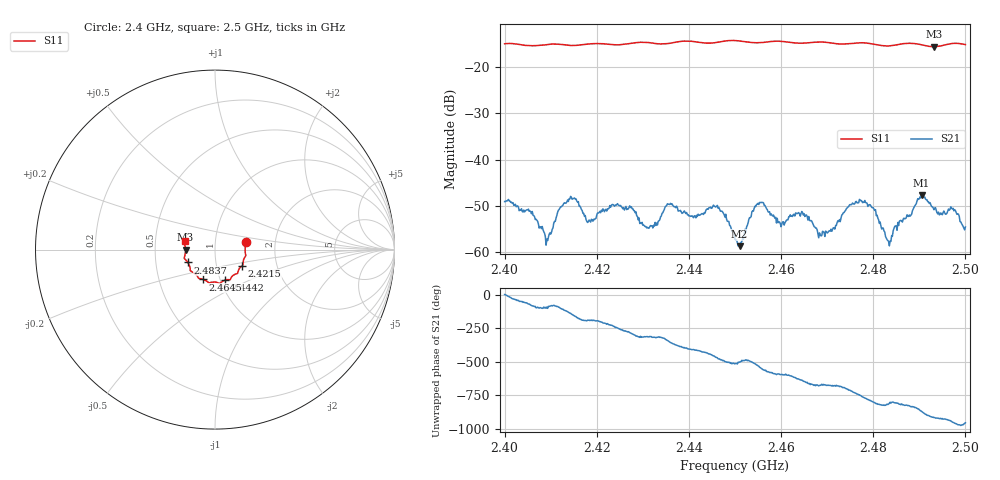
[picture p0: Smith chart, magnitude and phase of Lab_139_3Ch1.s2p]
# Hz S RI R 50
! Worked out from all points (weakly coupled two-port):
!   601 points, 2.4 GHz to 2.5 GHz, reference 50 ohm
!   highest |S21| = -47.65 dB at 2.4905 GHz (marker M1); lowest = -58.6 dB at 2.451 GHz (marker M2)
!   lowest |S11| = -15.7 dB at 2.4932 GHz (marker M3), VSWR 1.39, Z = 35.9 - j0.0579 ohm
!   |S11| at or under -10 dB: start of sweep to end of sweep
!   S12 and S22 are empty: the file has one direction only
!   S11 on the Smith chart (normalised r, x): 2.4 GHz: 1.41, +0.12; 2.4215 GHz: 1.33, -0.25; 2.4442 GHz: 1.05, -0.37; 2.4645 GHz: 0.83, -0.29; 2.4837 GHz: 0.73, -0.11; 2.5 GHz: 0.71, +0.07
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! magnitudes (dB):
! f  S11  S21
! 2.4 GHz  -15.1  -49.0
! 2.4055 GHz  -15.5  -51.1
! 2.4092 GHz  -15.3  -57.1
! 2.414 GHz  -15.4  -48.4
! 2.4167 GHz  -15.3  -50.7
! 2.4215 GHz  -15.1  -50.9
! 2.4333 GHz  -15.1  -53.3
! 2.4358 GHz  -15.0  -49.7
! 2.4442 GHz  -15.0  -50.7
! 2.45 GHz  -14.4  -57.1
! 2.451 GHz  -14.5  -58.6
! 2.4552 GHz  -14.9  -49.7
! 2.4598 GHz  -14.6  -53.8
! 2.4645 GHz  -15.0  -51.2
! 2.4667 GHz  -14.8  -53.3
! 2.47 GHz  -14.8  -55.8
! 2.4777 GHz  -14.9  -49.3
! 2.4833 GHz  -15.6  -57.7
! 2.4837 GHz  -15.5  -57.5
! 2.4905 GHz  -15.3  -47.6
! 2.4932 GHz  -15.7  -50.8
! 2.5 GHz  -15.3  -54.5
